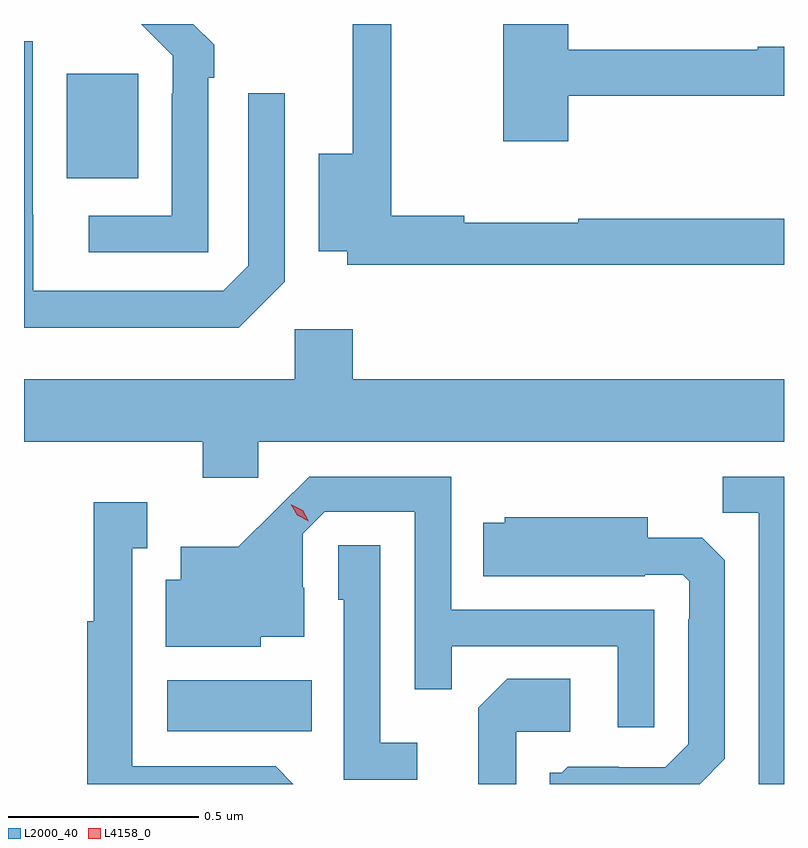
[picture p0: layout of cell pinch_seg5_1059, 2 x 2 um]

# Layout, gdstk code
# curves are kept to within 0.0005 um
import gdstk
lib = gdstk.Library(unit=1e-6, precision=1e-09)
def R(c, l, rs):  # rectangles x0, y0, x1, y1
    for r in rs: c.add(gdstk.rectangle(r[:2], r[2:], *l))
def P(c, l, *ps):  # polygons
    for p in ps: c.add(gdstk.Polygon(p, *l))
L2000_40 = (2000, 40)
L4158_0 = (4158, 0)

pinch_seg5_1059 = lib.new_cell('pinch_seg5_1059')
R(pinch_seg5_1059, L2000_40, [(729.006,844.01,729.386,844.144), (728.741,845.465,728.929,845.74)])
P(pinch_seg5_1059, L2000_40, [(729.114,845.729),(729.129,845.729),(729.129,845.817),(729.075,845.871),(728.938,845.871),(729.021,845.787),(729.021,845.687),(729.018,845.687),(729.018,845.367),(728.799,845.367),(728.799,845.271),(729.114,845.271)],
  [(730.629,845.359),(730.088,845.359),(730.088,845.348),(729.788,845.348),(729.788,845.366),(729.596,845.366),(729.596,845.871),(729.494,845.871),(729.494,845.53),(729.404,845.53),(729.404,845.273),(729.48,845.273),(729.48,845.238),(730.629,845.238)],
  [(730.061,845.682),(730.629,845.682),(730.629,845.811),(730.56,845.811),(730.56,845.803),(730.061,845.803),(730.061,845.871),(729.89,845.871),(729.89,845.562),(730.061,845.562)],
  [(729.315,845.193),(729.315,845.689),(729.219,845.689),(729.219,845.235),(729.153,845.169),(728.653,845.169),(728.653,845.369),(728.652,845.369),(728.652,845.826),(728.629,845.826),(728.629,845.072),(729.194,845.072)],
  [(729.246,844.772),(730.629,844.772),(730.629,844.936),(729.494,844.936),(729.494,845.068),(729.342,845.068),(729.342,844.936),(728.629,844.936),(728.629,844.772),(729.1,844.772),(729.1,844.677),(729.246,844.677)],
  [(730.629,844.68),(730.468,844.68),(730.468,844.585),(730.563,844.585),(730.563,843.871),(730.629,843.871)],
  [(730.287,844.329),(729.753,844.329),(729.753,844.68),(729.38,844.68),(729.193,844.495),(729.041,844.495),(729.041,844.408),(729.002,844.408),(729.002,844.232),(729.252,844.232),(729.252,844.259),(729.367,844.259),(729.367,844.388),(729.363,844.388),(729.363,844.53),(729.42,844.587),(729.657,844.587),(729.657,844.12),(729.755,844.12),(729.755,844.233),(730.191,844.233),(730.191,844.02),(730.287,844.02)],
  [(729.291,843.918),(728.914,843.918),(728.914,844.491),(728.953,844.491),(728.953,844.612),(728.813,844.612),(728.813,844.299),(728.796,844.299),(728.796,843.871),(729.338,843.871)],
  [(730.473,843.938),(730.473,844.46),(730.414,844.519),(730.27,844.519),(730.27,844.573),(729.894,844.573),(729.894,844.558),(729.838,844.558),(729.838,844.418),(730.262,844.418),(730.262,844.422),(730.362,844.422),(730.38,844.404),(730.38,844.304),(730.377,844.304),(730.377,843.975),(730.317,843.915),(730.194,843.915),(730.194,843.916),(730.06,843.916),(730.044,843.9),(730.013,843.9),(730.013,843.871),(730.407,843.871)],
  [(729.664,843.979),(729.567,843.979),(729.567,844.499),(729.456,844.499),(729.456,844.356),(729.471,844.356),(729.471,843.882),(729.664,843.882)],
  [(729.924,844.008),(730.066,844.008),(730.066,844.148),(729.901,844.148),(729.825,844.072),(729.825,843.871),(729.924,843.871)])
P(pinch_seg5_1059, L4158_0, [(729.378,844.562),(729.348,844.578),(729.331,844.607),(729.331,844.607),(729.331,844.607),(729.362,844.592),(729.378,844.562),(729.378,844.562)])

lib.write_gds('pinch_seg5_1059.gds')
